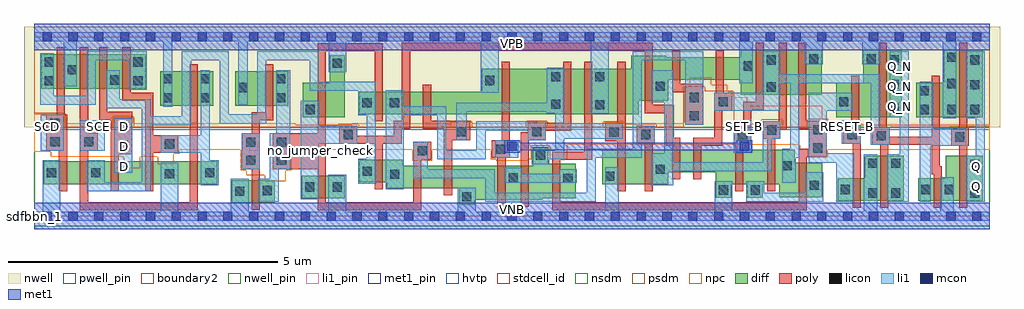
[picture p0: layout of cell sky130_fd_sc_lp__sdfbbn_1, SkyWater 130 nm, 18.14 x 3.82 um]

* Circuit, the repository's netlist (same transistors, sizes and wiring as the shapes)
* Copyright 2020 The SkyWater PDK Authors
*
* Licensed under the Apache License, Version 2.0 (the "License");
* you may not use this file except in compliance with the License.
* You may obtain a copy of the License at
*
*     https://www.apache.org/licenses/LICENSE-2.0
*
* Unless required by applicable law or agreed to in writing, software
* distributed under the License is distributed on an "AS IS" BASIS,
* WITHOUT WARRANTIES OR CONDITIONS OF ANY KIND, either express or implied.
* See the License for the specific language governing permissions and
* limitations under the License.
*
* SPDX-License-Identifier: Apache-2.0

.SUBCKT sky130_fd_sc_lp__sdfbbn_1 CLK_N D RESET_B SCD SCE SET_B VGND VNB VPB VPWR Q Q_N
*.PININFO CLK_N:I D:I RESET_B:I SCD:I SCE:I SET_B:I VGND:I VNB:I VPB:I
*.PININFO VPWR:I Q:O Q_N:O
MI98 net93 D n0 VNB sky130_fd_pr__nfet_01v8 m=1 w=0.42U l=0.15U mult=1 sa=0.265
+ sb=0.265 sd=0.28 area=0.525 perim=3.1
MI103 n1 SCD VGND VNB sky130_fd_pr__nfet_01v8 m=1 w=0.42U l=0.15U mult=1 sa=0.265
+ sb=0.265 sd=0.28 area=0.525 perim=3.1
MI104 n0 sceb VGND VNB sky130_fd_pr__nfet_01v8 m=1 w=0.42U l=0.15U mult=1 sa=0.265
+ sb=0.265 sd=0.28 area=0.525 perim=3.1
MI120 net93 SCE n1 VNB sky130_fd_pr__nfet_01v8 m=1 w=0.42U l=0.15U mult=1 sa=0.265
+ sb=0.265 sd=0.28 area=0.525 perim=3.1
MI46 clkneg clkpos VGND VNB sky130_fd_pr__nfet_01v8 m=1 w=0.42U l=0.15U mult=1
+ sa=0.265 sb=0.265 sd=0.28 area=0.063 perim=1.14
MI642 RESET RESET_B VGND VNB sky130_fd_pr__nfet_01v8 m=1 w=0.42U l=0.15U mult=1
+ sa=0.265 sb=0.265 sd=0.28 area=0.063 perim=1.14
MI676 M1 M0 net116 VNB sky130_fd_pr__nfet_01v8 m=1 w=0.64U l=0.15U mult=1 sa=0.265
+ sb=0.265 sd=0.28 area=0.063 perim=1.14
MI675 net116 SET_B VGND VNB sky130_fd_pr__nfet_01v8 m=1 w=0.64U l=0.15U mult=1
+ sa=0.265 sb=0.265 sd=0.28 area=0.063 perim=1.14
MI653 Q net273 VGND VNB sky130_fd_pr__nfet_01v8 m=1 w=0.84U l=0.15U mult=1 sa=0.265
+ sb=0.265 sd=0.28 area=0.063 perim=1.14
MI677 M1 RESET net116 VNB sky130_fd_pr__nfet_01v8 m=1 w=0.64U l=0.15U mult=1 sa=0.265
+ sb=0.265 sd=0.28 area=0.063 perim=1.14
MI648 M0 clkpos net132 VNB sky130_fd_pr__nfet_01v8 m=1 w=0.42U l=0.15U mult=1 sa=0.265
+ sb=0.265 sd=0.28 area=0.063 perim=1.14
MI44 clkpos CLK_N VGND VNB sky130_fd_pr__nfet_01v8 m=1 w=0.42U l=0.15U mult=1 sa=0.265
+ sb=0.265 sd=0.28 area=0.063 perim=1.14
MI649 net132 M1 VGND VNB sky130_fd_pr__nfet_01v8 m=1 w=0.42U l=0.15U mult=1 sa=0.265
+ sb=0.265 sd=0.28 area=0.063 perim=1.14
MI655 S0 clkneg net149 VNB sky130_fd_pr__nfet_01v8 m=1 w=0.42U l=0.15U mult=1 sa=0.265
+ sb=0.265 sd=0.28 area=0.063 perim=1.14
MI654 net149 net177 VGND VNB sky130_fd_pr__nfet_01v8 m=1 w=0.42U l=0.15U mult=1
+ sa=0.265 sb=0.265 sd=0.28 area=0.063 perim=1.14
MI651 Q_N net177 VGND VNB sky130_fd_pr__nfet_01v8 m=1 w=0.84U l=0.15U mult=1 sa=0.265
+ sb=0.265 sd=0.28 area=0.063 perim=1.14
MI652 net273 net177 VGND VNB sky130_fd_pr__nfet_01v8 m=1 w=0.42U l=0.15U mult=1
+ sa=0.265 sb=0.265 sd=0.28 area=0.063 perim=1.14
MI42 net93 clkneg M0 VNB sky130_fd_pr__nfet_01v8 m=1 w=0.42U l=0.15U mult=1 sa=0.265
+ sb=0.265 sd=0.28 area=0.063 perim=1.14
MI668 S0 clkpos net164 VNB sky130_fd_pr__nfet_01v8 m=1 w=0.64U l=0.15U mult=1 sa=0.265
+ sb=0.265 sd=0.28 area=0.063 perim=1.14
MI667 net164 M1 VGND VNB sky130_fd_pr__nfet_01v8 m=1 w=0.64U l=0.15U mult=1 sa=0.265
+ sb=0.265 sd=0.28 area=0.063 perim=1.14
MI630 net177 RESET net176 VNB sky130_fd_pr__nfet_01v8 m=1 w=0.64U l=0.15U mult=1
+ sa=0.265 sb=0.265 sd=0.28 area=0.063 perim=1.14
MI3 net177 S0 net176 VNB sky130_fd_pr__nfet_01v8 m=1 w=0.64U l=0.15U mult=1 sa=0.265
+ sb=0.265 sd=0.28 area=0.063 perim=1.14
MI7 net176 SET_B VGND VNB sky130_fd_pr__nfet_01v8 m=1 w=0.64U l=0.15U mult=1 sa=0.265
+ sb=0.265 sd=0.28 area=0.063 perim=1.14
MI639 sceb SCE VGND VNB sky130_fd_pr__nfet_01v8 m=1 w=0.42U l=0.15U mult=1 sa=0.265
+ sb=0.265 sd=0.28 area=0.063 perim=1.14
MI107 p0 SCE VPWR VPB sky130_fd_pr__pfet_01v8_hvt m=1 w=0.64U l=0.15U mult=1 sa=0.265
+ sb=0.265 sd=0.28 area=0.063 perim=1.14
MI94 net93 D p0 VPB sky130_fd_pr__pfet_01v8_hvt m=1 w=0.64U l=0.15U mult=1 sa=0.265
+ sb=0.265 sd=0.28 area=0.063 perim=1.14
MI101 net93 sceb p1 VPB sky130_fd_pr__pfet_01v8_hvt m=1 w=0.64U l=0.15U mult=1
+ sa=0.265 sb=0.265 sd=0.28 area=0.063 perim=1.14
MI108 p1 SCD VPWR VPB sky130_fd_pr__pfet_01v8_hvt m=1 w=0.64U l=0.15U mult=1 sa=0.265
+ sb=0.265 sd=0.28 area=0.063 perim=1.14
MI679 M1 SET_B VPWR VPB sky130_fd_pr__pfet_01v8_hvt m=1 w=0.84U l=0.15U mult=1
+ sa=0.265 sb=0.265 sd=0.28 area=0.063 perim=1.14
MI669 S0 clkneg net221 VPB sky130_fd_pr__pfet_01v8_hvt m=1 w=0.84U l=0.15U mult=1
+ sa=0.265 sb=0.265 sd=0.28 area=0.063 perim=1.14
MI660 Q net273 VPWR VPB sky130_fd_pr__pfet_01v8_hvt m=1 w=1.26U l=0.15U mult=1
+ sa=0.265 sb=0.265 sd=0.28 area=0.063 perim=1.14
MI9 net177 S0 net216 VPB sky130_fd_pr__pfet_01v8_hvt m=1 w=0.84U l=0.15U mult=1
+ sa=0.265 sb=0.265 sd=0.28 area=0.063 perim=1.14
MI670 net221 M1 VPWR VPB sky130_fd_pr__pfet_01v8_hvt m=1 w=0.84U l=0.15U mult=1
+ sa=0.265 sb=0.265 sd=0.28 area=0.063 perim=1.14
MI678 net268 RESET VPWR VPB sky130_fd_pr__pfet_01v8_hvt m=1 w=0.84U l=0.15U mult=1
+ sa=0.265 sb=0.265 sd=0.28 area=0.063 perim=1.14
MI662 net229 net177 VPWR VPB sky130_fd_pr__pfet_01v8_hvt m=1 w=0.42U l=0.15U mult=1
+ sa=0.265 sb=0.265 sd=0.28 area=0.063 perim=1.14
MI664 S0 clkpos net229 VPB sky130_fd_pr__pfet_01v8_hvt m=1 w=0.42U l=0.15U mult=1
+ sa=0.265 sb=0.265 sd=0.28 area=0.063 perim=1.14
MI10 net177 SET_B VPWR VPB sky130_fd_pr__pfet_01v8_hvt m=1 w=0.84U l=0.15U mult=1
+ sa=0.265 sb=0.265 sd=0.28 area=0.063 perim=1.14
MI11 net216 RESET VPWR VPB sky130_fd_pr__pfet_01v8_hvt m=1 w=0.84U l=0.15U mult=1
+ sa=0.265 sb=0.265 sd=0.28 area=0.063 perim=1.14
MI650 net245 M1 VPWR VPB sky130_fd_pr__pfet_01v8_hvt m=1 w=0.42U l=0.15U mult=1
+ sa=0.265 sb=0.265 sd=0.28 area=0.063 perim=1.14
MI43 net93 clkpos M0 VPB sky130_fd_pr__pfet_01v8_hvt m=1 w=0.42U l=0.15U mult=1
+ sa=0.265 sb=0.265 sd=0.28 area=0.063 perim=1.14
MI656 M0 clkneg net245 VPB sky130_fd_pr__pfet_01v8_hvt m=1 w=0.42U l=0.15U mult=1
+ sa=0.265 sb=0.265 sd=0.28 area=0.063 perim=1.14
MI643 RESET RESET_B VPWR VPB sky130_fd_pr__pfet_01v8_hvt m=1 w=0.64U l=0.15U mult=1
+ sa=0.265 sb=0.265 sd=0.28 area=0.063 perim=1.14
MI47 clkneg clkpos VPWR VPB sky130_fd_pr__pfet_01v8_hvt m=1 w=0.64U l=0.15U mult=1
+ sa=0.265 sb=0.265 sd=0.28 area=0.063 perim=1.14
MI45 clkpos CLK_N VPWR VPB sky130_fd_pr__pfet_01v8_hvt m=1 w=0.64U l=0.15U mult=1
+ sa=0.265 sb=0.265 sd=0.28 area=0.063 perim=1.14
MI680 M1 M0 net268 VPB sky130_fd_pr__pfet_01v8_hvt m=1 w=0.84U l=0.15U mult=1 sa=0.265
+ sb=0.265 sd=0.28 area=0.063 perim=1.14
MI663 net273 net177 VPWR VPB sky130_fd_pr__pfet_01v8_hvt m=1 w=0.64U l=0.15U mult=1
+ sa=0.265 sb=0.265 sd=0.28 area=0.063 perim=1.14
MI661 Q_N net177 VPWR VPB sky130_fd_pr__pfet_01v8_hvt m=1 w=1.26U l=0.15U mult=1
+ sa=0.265 sb=0.265 sd=0.28 area=0.063 perim=1.14
MI640 sceb SCE VPWR VPB sky130_fd_pr__pfet_01v8_hvt m=1 w=0.64U l=0.15U mult=1
+ sa=0.265 sb=0.265 sd=0.28 area=0.063 perim=1.14
.ENDS sky130_fd_sc_lp__sdfbbn_1

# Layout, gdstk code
import gdstk
lib = gdstk.Library(unit=1e-6, precision=1e-09)
def R(c, l, rs):  # rectangles x0, y0, x1, y1
    for r in rs: c.add(gdstk.rectangle(r[:2], r[2:], *l))
def A(c, l, x, y, w, h, nx, ny, dx, dy):  # array of equal rectangles
    R(c, l, [(x+i*dx, y+j*dy, x+i*dx+w, y+j*dy+h) for i in range(nx) for j in range(ny)])
def P(c, l, *ps):  # polygons
    for p in ps: c.add(gdstk.Polygon(p, *l))
nwell_pin = (64, 16)
nwell = (64, 20)
diff = (65, 20)
poly = (66, 20)
licon = (66, 44)
li1_pin = (67, 16)
li1 = (67, 20)
mcon = (67, 44)
met1_pin = (68, 16)
met1 = (68, 20)
hvtp = (78, 44)
stdcell_id = (81, 4)
nsdm = (93, 44)
psdm = (94, 20)
npc = (95, 20)
pwell_pin = (122, 16)
boundary2 = (236, 0)

sky130_fd_sc_lp__sdfbbn_ = lib.new_cell('sky130_fd_sc_lp__sdfbbn_1')
R(sky130_fd_sc_lp__sdfbbn_, nwell_pin, [(0,3.085,17.76,3.33)])
R(sky130_fd_sc_lp__sdfbbn_, nwell, [(-0.19,1.655,17.95,3.52)])
R(sky130_fd_sc_lp__sdfbbn_, diff, [(3.675,0.25,4.475,0.67), (4.975,0.33,5.775,0.75), (0.175,0.595,3.405,1.015), (2.34,2.055,3.325,2.695), (3.735,2.055,4.72,2.695), (0.135,2.37,2.07,3.01)])
P(sky130_fd_sc_lp__sdfbbn_, diff, [(5.775,2.985),(5.495,2.985),(5.495,2.475),(4.99,2.475),(4.99,1.835),(5.775,1.835)],
  [(10.065,0.97),(9.555,0.97),(9.555,1.275),(9.27,1.275),(9.27,0.94),(6.845,0.94),(6.845,1.045),(6.045,1.045),(6.045,0.625),(6.555,0.625),(6.555,0.52),(7.895,0.52),(7.895,0.215),(8.185,0.215),(8.185,0.3),(9.445,0.3),(9.445,0.33),(10.065,0.33)],
  [(14.635,3.095),(13.13,3.095),(13.13,2.95),(11.745,2.95),(11.745,2.98),(11.095,2.98),(11.095,2.735),(8.32,2.735),(8.32,2.315),(6.045,2.315),(6.045,1.895),(11.24,1.895),(11.24,2.14),(11.78,2.14),(11.78,2.53),(13.13,2.53),(13.13,2.255),(14.635,2.255)],
  [(14.645,0.99),(14.135,0.99),(14.135,1.235),(10.555,1.235),(10.555,0.595),(11.78,0.595),(11.78,0.815),(12.665,0.815),(12.665,0.34),(12.955,0.34),(12.955,0.595),(13.255,0.595),(13.255,0.34),(13.545,0.34),(13.545,0.595),(13.845,0.595),(13.845,0.35),(14.645,0.35)],
  [(16.125,3.095),(15.41,3.095),(15.41,2.475),(14.905,2.475),(14.905,1.835),(16.125,1.835)],
  [(16.16,1.125),(15.44,1.125),(15.44,0.705),(14.93,0.705),(14.93,0.285),(16.16,0.285)],
  [(17.625,3.095),(16.905,3.095),(16.905,2.475),(16.395,2.475),(16.395,1.835),(17.625,1.835)],
  [(17.625,1.125),(16.94,1.125),(16.94,0.705),(16.43,0.705),(16.43,0.285),(17.625,0.285)])
P(sky130_fd_sc_lp__sdfbbn_, poly, [(0.61,1.885),(0.57,1.885),(0.57,3.14),(0.42,3.14),(0.42,1.885),(0.22,1.885),(0.22,1.215),(0.46,1.215),(0.46,0.465),(0.61,0.465)],
  [(1.82,1.935),(1.36,1.935),(1.36,3.14),(1.21,3.14),(1.21,1.785),(1.42,1.785),(1.42,0.465),(1.57,0.465),(1.57,1.15),(1.82,1.15)],
  [(2.68,1.505),(2.21,1.505),(2.21,2.295),(1.79,2.295),(1.79,3.14),(1.64,3.14),(1.64,2.145),(2.06,2.145),(2.06,0.465),(2.21,0.465),(2.21,1.175),(2.68,1.175)],
  [(3.04,2.825),(2.89,2.825),(2.89,0.255),(1,0.255),(1,1.215),(1.18,1.215),(1.18,1.545),(1,1.545),(1,3.14),(0.85,3.14),(0.85,0.105),(3.04,0.105)],
  [(4.44,2.825),(4.29,2.825),(4.29,1.93),(4.04,1.93),(4.04,1.54),(3.86,1.54),(3.86,0.87),(4.04,0.87),(4.04,0.12),(4.19,0.12),(4.19,1.78),(4.44,1.78)],
  [(7.375,1.38),(7.045,1.38),(7.045,0.255),(5.42,0.255),(5.42,3.06),(6.325,3.06),(6.325,1.765),(6.475,1.765),(6.475,3.21),(5.27,3.21),(5.27,1.54),(4.43,1.54),(4.43,0.87),(5.27,0.87),(5.27,0.105),(7.195,0.105),(7.195,1.05),(7.375,1.05)],
  [(8.105,1.77),(7.375,1.77),(7.375,2.445),(7.225,2.445),(7.225,1.62),(7.615,1.62),(7.615,0.39),(7.765,0.39),(7.765,1.405),(8.105,1.405)],
  [(8.835,2.865),(8.685,2.865),(8.685,1.41),(8.505,1.41),(8.505,1.08),(8.61,1.08),(8.61,0.17),(8.76,0.17),(8.76,1.08),(8.835,1.08)],
  [(9.98,2.865),(9.83,2.865),(9.83,1.735),(9.175,1.735),(9.175,1.555),(9.045,1.555),(9.045,0.17),(9.195,0.17),(9.195,1.405),(9.505,1.405),(9.505,1.585),(9.98,1.585)],
  [(10.99,2.865),(10.84,2.865),(10.84,1.725),(10.61,1.725),(10.61,1.395),(10.84,1.395),(10.84,0.465),(10.99,0.465)],
  [(11.53,1.675),(11.2,1.675),(11.2,1.345),(11.345,1.345),(11.345,0.465),(11.495,0.465),(11.495,1.345),(11.53,1.345)],
  [(12.005,1.46),(11.89,1.46),(11.89,2.065),(11.495,2.065),(11.495,3.225),(6.835,3.225),(6.835,1.77),(6.685,1.77),(6.685,1.495),(6,1.495),(6,1.675),(5.67,1.675),(5.67,1.345),(6.33,1.345),(6.33,0.495),(6.48,0.495),(6.48,1.345),(6.835,1.345),(6.835,1.62),(6.985,1.62),(6.985,3.075),(11.345,3.075),(11.345,1.915),(11.74,1.915),(11.74,1.31),(11.855,1.31),(11.855,0.685),(12.005,0.685)],
  [(12.43,2.455),(12.005,2.455),(12.005,3.08),(11.855,3.08),(11.855,2.305),(12.1,2.305),(12.1,1.7),(12.43,1.7)],
  [(12.97,2.29),(12.82,2.29),(12.82,3.08),(12.67,3.08),(12.67,2.29),(12.64,2.29),(12.64,1.46),(12.245,1.46),(12.245,0.685),(12.395,0.685),(12.395,1.31),(12.79,1.31),(12.79,1.96),(12.97,1.96)],
  [(13.56,3.225),(13.41,3.225),(13.41,2.125),(13.18,2.125),(13.18,1.675),(13,1.675),(13,1.345),(13.03,1.345),(13.03,0.465),(13.18,0.465),(13.18,1.345),(13.33,1.345),(13.33,1.975),(13.56,1.975)],
  [(13.99,3.225),(13.84,3.225),(13.84,1.765),(13.54,1.765),(13.54,1.435),(13.62,1.435),(13.62,0.465),(13.77,0.465),(13.77,1.435),(13.87,1.435),(13.87,1.615),(13.99,1.615)],
  [(14.73,1.77),(14.35,1.77),(14.35,3.225),(14.2,3.225),(14.2,1.62),(14.4,1.62),(14.4,1.25),(14.21,1.25),(14.21,0.255),(9.78,0.255),(9.78,1.045),(10.37,1.045),(10.37,2.865),(10.22,2.865),(10.22,1.195),(9.63,1.195),(9.63,0.105),(14.36,0.105),(14.36,1.1),(14.73,1.1)],
  [(15.365,1.675),(15.335,1.675),(15.335,2.605),(15.185,2.605),(15.185,1.675),(15.035,1.675),(15.035,1.345),(15.215,1.345),(15.215,0.155),(15.365,0.155)],
  [(16.865,0.93),(16.83,0.93),(16.83,2.605),(16.68,2.605),(16.68,1.475),(15.905,1.475),(15.905,1.655),(15.845,1.655),(15.845,3.225),(15.695,3.225),(15.695,1.655),(15.575,1.655),(15.575,1.325),(15.725,1.325),(15.725,0.155),(15.875,0.155),(15.875,1.325),(16.68,1.325),(16.68,0.78),(16.715,0.78),(16.715,0.155),(16.865,0.155)],
  [(17.37,1.635),(17.34,1.635),(17.34,3.225),(17.19,3.225),(17.19,1.635),(17.04,1.635),(17.04,1.305),(17.19,1.305),(17.19,0.155),(17.34,0.155),(17.34,1.305),(17.37,1.305)])
A(sky130_fd_sc_lp__sdfbbn_, licon, 16.965, 1.895, 0.17, 0.17, 1, 3, 0, 0.485)
A(sky130_fd_sc_lp__sdfbbn_, licon, 17.395, 1.895, 0.17, 0.17, 1, 3, 0, 0.46)
A(sky130_fd_sc_lp__sdfbbn_, licon, 15.9, 1.915, 0.17, 0.17, 1, 3, 0, 0.45)
R(sky130_fd_sc_lp__sdfbbn_, licon, [(7.955,0.275,8.125,0.445), (15.5,0.345,15.67,0.515), (15.93,0.345,16.1,0.515), (17.395,0.345,17.565,0.515), (3.735,0.375,3.905,0.545), (4.245,0.39,4.415,0.56), (12.725,0.4,12.895,0.57), (13.315,0.4,13.485,0.57), (14.99,0.41,15.16,0.58), (16.49,0.41,16.66,0.58), (16.92,0.41,17.09,0.58), (5.035,0.455,5.205,0.625), (5.545,0.455,5.715,0.625), (14.415,0.485,14.585,0.655), (9.835,0.62,10.005,0.79), (8.815,0.63,8.985,0.8), (10.615,0.655,10.785,0.825), (6.615,0.695,6.785,0.865), (2.43,0.7,2.6,0.87), (0.235,0.72,0.405,0.89), (1.06,0.72,1.23,0.89), (3.175,0.72,3.345,0.89), (6.105,0.75,6.275,0.92), (11.55,0.785,11.72,0.955), (13.905,0.85,14.075,1.02), (17.395,0.875,17.565,1.045), (15.5,0.895,15.67,1.065), (15.93,0.895,16.1,1.065), (3.94,0.95,4.11,1.12), (4.51,0.95,4.68,1.12), (9.325,1.045,9.495,1.215), (7.125,1.13,7.295,1.3), (8.585,1.16,8.755,1.33), (14.48,1.18,14.65,1.35), (1.57,1.23,1.74,1.4), (2.43,1.255,2.6,1.425), (3.94,1.29,4.11,1.46), (4.51,1.29,4.68,1.46), (0.3,1.295,0.47,1.465), (0.93,1.295,1.1,1.465), (17.12,1.385,17.29,1.555), (15.655,1.405,15.825,1.575), (5.75,1.425,5.92,1.595), (11.28,1.425,11.45,1.595), (13.08,1.425,13.25,1.595), (15.115,1.425,15.285,1.595), (10.69,1.475,10.86,1.645), (7.855,1.485,8.025,1.655), (9.255,1.485,9.425,1.655), (13.62,1.515,13.79,1.685), (14.48,1.52,14.65,1.69), (1.57,1.57,1.74,1.74), (0.3,1.635,0.47,1.805), (12.18,1.78,12.35,1.95), (5.045,1.895,5.215,2.065), (16.455,1.895,16.625,2.065), (10.425,1.985,10.595,2.155), (9.605,1.995,9.775,2.165), (6.1,2.02,6.27,2.19), (6.61,2.02,6.78,2.19), (12.72,2.04,12.89,2.21), (14.96,2.04,15.13,2.21), (2.395,2.115,2.565,2.285), (3.095,2.115,3.265,2.285), (4.495,2.115,4.665,2.285), (12.18,2.12,12.35,2.29), (16.455,2.245,16.625,2.415), (3.795,2.305,3.965,2.475), (13.615,2.315,13.785,2.485), (11.55,2.33,11.72,2.5), (0.195,2.43,0.365,2.6), (1.845,2.43,2.015,2.6), (8.38,2.435,8.55,2.605), (1.415,2.445,1.585,2.615), (2.395,2.465,2.565,2.635), (3.095,2.465,3.265,2.635), (4.495,2.465,4.665,2.635), (9.605,2.505,9.775,2.675), (10.425,2.505,10.595,2.675), (0.625,2.635,0.795,2.805), (13.185,2.705,13.355,2.875), (5.55,2.755,5.72,2.925), (0.195,2.78,0.365,2.95), (1.845,2.78,2.015,2.95), (13.615,2.815,13.785,2.985), (14.405,2.84,14.575,3.01), (15.47,2.84,15.64,3.01)])
A(sky130_fd_sc_lp__sdfbbn_, li1_pin, 1.595, 0.84, 0.17, 0.17, 1, 3, 0, 0.37)
A(sky130_fd_sc_lp__sdfbbn_, li1_pin, 15.995, 1.95, 0.17, 0.17, 1, 3, 0, 0.37)
R(sky130_fd_sc_lp__sdfbbn_, li1_pin, [(17.435,0.47,17.605,0.64), (17.435,0.84,17.605,1.01), (3.995,1.21,4.165,1.38), (0.155,1.58,0.325,1.75), (1.115,1.58,1.285,1.75), (13.115,1.58,13.285,1.75), (15.035,1.58,15.205,1.75)])
R(sky130_fd_sc_lp__sdfbbn_, li1, [(1.49,0.81,1.82,1.82), (3.86,0.87,4.195,1.54), (8.57,1.08,8.995,1.41), (13,1.18,13.33,1.78), (0.125,1.215,0.55,1.885), (0.85,1.215,1.31,1.78), (15.005,1.345,15.365,1.78)])
P(sky130_fd_sc_lp__sdfbbn_, li1, [(17.315,0.265),(17.315,1.125),(17.5,1.125),(17.5,1.815),(17.315,1.815),(17.315,3.065),(17.67,3.065),(17.67,0.265)],
  [(15.9,1.835),(15.9,3.065),(16.255,3.065),(16.255,0.265),(15.85,0.265),(15.85,1.145),(16.085,1.145),(16.085,1.835)],
  [(0.545,2.415),(0.545,3.245),(0,3.245),(0,3.415),(17.76,3.415),(17.76,3.245),(17.135,3.245),(17.135,1.815),(16.885,1.815),(16.885,3.245),(15.72,3.245),(15.72,2.82),(15.39,2.82),(15.39,3.245),(14.655,3.245),(14.655,2.82),(14.325,2.82),(14.325,3.245),(13.355,3.245),(13.355,2.47),(13.105,2.47),(13.105,3.245),(10.675,3.245),(10.675,1.905),(10.345,1.905),(10.345,3.245),(8.63,3.245),(8.63,2.29),(8.3,2.29),(8.3,3.245),(5.8,3.245),(5.8,2.675),(5.47,2.675),(5.47,3.245),(3.965,3.245),(3.965,2.07),(3.795,2.07),(3.795,3.245),(2.565,3.245),(2.565,2.035),(2.395,2.035),(2.395,3.245),(0.795,3.245),(0.795,2.415)],
  [(2.35,0.085),(2.35,0.995),(2.68,0.995),(2.68,0.085),(3.655,0.085),(3.655,0.69),(3.985,0.69),(3.985,0.085),(5.465,0.085),(5.465,0.77),(5.795,0.77),(5.795,0.085),(7.875,0.085),(7.875,0.525),(8.205,0.525),(8.205,0.085),(10.615,0.085),(10.615,0.905),(10.865,0.905),(10.865,0.085),(12.645,0.085),(12.645,0.65),(12.975,0.65),(12.975,0.085),(15.42,0.085),(15.42,1.145),(15.67,1.145),(15.67,0.085),(16.84,0.085),(16.84,0.725),(17.09,0.725),(17.09,0.085),(17.76,0.085),(17.76,-0.085),(0,-0.085),(0,0.085),(0.155,0.085),(0.155,1.035),(0.485,1.035),(0.485,0.085)],
  [(13.865,2.64),(15.72,2.64),(15.72,1.655),(15.905,1.655),(15.905,1.325),(15.55,1.325),(15.55,2.47),(14.22,2.47),(14.22,1.085),(14.155,1.085),(14.155,0.615),(13.905,0.615),(13.905,1.255),(14.05,1.255),(14.05,2.47),(13.865,2.47),(13.865,1.96),(12.64,1.96),(12.64,2.29),(13.535,2.29),(13.535,3.065),(13.865,3.065)],
  [(9.855,1.055),(9.575,1.055),(9.575,0.965),(9.245,0.965),(9.245,1.225),(9.685,1.225),(9.685,1.915),(9.525,1.915),(9.525,1.94),(8.04,1.94),(8.04,1.405),(7.84,1.405),(7.84,2.11),(9.525,2.11),(9.525,2.755),(9.855,2.755),(9.855,1.725),(10.94,1.725),(10.94,1.435),(9.855,1.435)],
  [(16.455,2.495),(16.705,2.495),(16.705,1.635),(17.32,1.635),(17.32,1.305),(16.66,1.305),(16.66,0.265),(16.455,0.265)],
  [(3.095,1.505),(3.095,2.715),(3.265,2.715),(3.265,1.035),(3.425,1.035),(3.425,0.575),(3.095,0.575),(3.095,1.175),(2.35,1.175),(2.35,1.505)],
  [(1.335,2),(1.335,2.715),(1.585,2.715),(1.585,2.17),(2.17,2.17),(2.17,1.855),(2.745,1.855),(2.745,3.065),(3.615,3.065),(3.615,1.89),(4.145,1.89),(4.145,3.065),(5.29,3.065),(5.29,2.495),(6.35,2.495),(6.35,1.065),(6.355,1.065),(6.355,0.605),(6.025,0.605),(6.025,1.065),(6.18,1.065),(6.18,1.875),(6.02,1.875),(6.02,2.325),(5.12,2.325),(5.12,2.895),(4.315,2.895),(4.315,1.72),(3.445,1.72),(3.445,2.895),(2.915,2.895),(2.915,1.685),(2.17,1.685),(2.17,0.46),(0.98,0.46),(0.98,1.035),(1.31,1.035),(1.31,0.63),(2,0.63),(2,2)],
  [(0.115,2.065),(0.115,3.03),(0.365,3.03),(0.365,2.235),(0.975,2.235),(0.975,3.065),(2.095,3.065),(2.095,2.35),(1.765,2.35),(1.765,2.895),(1.145,2.895),(1.145,2.065)],
  [(10.265,1.255),(11.12,1.255),(11.12,3.065),(12.43,3.065),(12.43,1.7),(12.1,1.7),(12.1,2.895),(11.29,2.895),(11.29,1.675),(11.53,1.675),(11.53,1.345),(11.29,1.345),(11.29,1.085),(10.435,1.085),(10.435,0.265),(8.385,0.265),(8.385,0.705),(7.045,0.705),(7.045,1.38),(7.31,1.38),(7.31,0.875),(8.555,0.875),(8.555,0.435),(10.265,0.435)],
  [(4.375,1.54),(4.495,1.54),(4.495,2.715),(4.76,2.715),(4.76,0.87),(4.545,0.87),(4.545,0.265),(4.165,0.265),(4.165,0.69),(4.375,0.69)],
  [(6.865,2.045),(7.66,2.045),(7.66,1.225),(8.22,1.225),(8.22,1.76),(9.345,1.76),(9.345,1.735),(9.505,1.735),(9.505,1.405),(9.175,1.405),(9.175,1.59),(8.39,1.59),(8.39,1.055),(7.49,1.055),(7.49,1.875),(6.865,1.875),(6.865,0.5),(6.535,0.5),(6.535,1.875),(6.53,1.875),(6.53,2.335),(6.865,2.335)],
  [(11.88,1),(13.54,1),(13.54,1.765),(13.87,1.765),(13.87,1.435),(13.71,1.435),(13.71,0.83),(11.88,0.83),(11.88,0.575),(11.47,0.575),(11.47,1.165),(11.71,1.165),(11.71,2.12),(11.47,2.12),(11.47,2.715),(11.88,2.715)],
  [(4.955,0.31),(4.955,2.145),(5.295,2.145),(5.295,1.675),(6,1.675),(6,1.345),(5.285,1.345),(5.285,0.31)],
  [(9.755,0.785),(9.755,0.875),(10.085,0.875),(10.085,0.615),(8.735,0.615),(8.735,0.9),(9.065,0.9),(9.065,0.785)],
  [(14.335,0.435),(14.335,0.815),(14.665,0.815),(14.665,0.265),(13.235,0.265),(13.235,0.65),(13.565,0.65),(13.565,0.435)],
  [(14.4,0.995),(14.4,2.29),(15.21,2.29),(15.21,1.96),(14.73,1.96),(14.73,1.165),(15.24,1.165),(15.24,0.265),(14.91,0.265),(14.91,0.995)])
A(sky130_fd_sc_lp__sdfbbn_, mcon, 0.155, -0.085, 0.17, 0.17, 37, 2, 0.48, 3.33)
R(sky130_fd_sc_lp__sdfbbn_, mcon, [(8.795,1.21,8.965,1.38), (13.115,1.21,13.285,1.38)])
R(sky130_fd_sc_lp__sdfbbn_, met1_pin, [(0,0,17.76,0.245), (0,3.085,17.76,3.33)])
R(sky130_fd_sc_lp__sdfbbn_, met1, [(0,-0.245,17.76,0.245), (0,3.085,17.76,3.575)])
P(sky130_fd_sc_lp__sdfbbn_, met1, [(9.025,1.365),(13.055,1.365),(13.055,1.41),(13.345,1.41),(13.345,1.18),(13.055,1.18),(13.055,1.225),(9.025,1.225),(9.025,1.18),(8.735,1.18),(8.735,1.41),(9.025,1.41)])
R(sky130_fd_sc_lp__sdfbbn_, hvtp, [(0,1.6,17.76,3.33)])
R(sky130_fd_sc_lp__sdfbbn_, stdcell_id, [(0,0,17.76,3.33)])
R(sky130_fd_sc_lp__sdfbbn_, nsdm, [(0,-0.19,17.76,1.655)])
P(sky130_fd_sc_lp__sdfbbn_, psdm, [(17.76,3.52),(0,3.52),(0,1.915),(0.58,1.915),(0.58,1.655),(1.46,1.655),(1.46,1.85),(1.85,1.85),(1.85,1.655),(5.64,1.655),(5.64,1.705),(6.03,1.705),(6.03,1.655),(7.745,1.655),(7.745,1.765),(8.135,1.765),(8.135,1.655),(9.145,1.655),(9.145,1.765),(9.535,1.765),(9.535,1.655),(10.58,1.655),(10.58,1.755),(10.97,1.755),(10.97,1.705),(11.56,1.705),(11.56,1.655),(12.07,1.655),(12.07,2.4),(12.46,2.4),(12.46,2.32),(13,2.32),(13,1.705),(13.51,1.705),(13.51,1.795),(13.9,1.795),(13.9,1.655),(14.37,1.655),(14.37,1.8),(14.76,1.8),(14.76,1.705),(15.395,1.705),(15.395,1.685),(15.935,1.685),(15.935,1.655),(17.01,1.655),(17.01,1.665),(17.76,1.665)])
P(sky130_fd_sc_lp__sdfbbn_, npc, [(17.76,1.695),(14.765,1.695),(14.765,1.73),(14.75,1.73),(14.75,1.79),(14.645,1.79),(14.645,2.05),(13.255,2.05),(13.255,2.205),(12.99,2.205),(12.99,2.31),(12.885,2.31),(12.885,2.44),(12.58,2.44),(12.58,2.575),(12.185,2.575),(12.185,2.39),(12.08,2.39),(12.08,1.73),(10.96,1.73),(10.96,1.745),(10.59,1.745),(10.59,1.73),(9.525,1.73),(9.525,1.755),(9.155,1.755),(9.155,1.73),(8.125,1.73),(8.125,1.755),(7.755,1.755),(7.755,1.73),(5.915,1.73),(5.915,1.695),(4.85,1.695),(4.85,1.73),(1.84,1.73),(1.84,1.84),(1.47,1.84),(1.47,1.73),(0.57,1.73),(0.57,1.905),(0,1.905),(0,1.195),(0.305,1.195),(0.305,1.105),(1.66,1.105),(1.66,0.89),(1.97,0.89),(1.97,1.105),(2.3,1.105),(2.3,0.96),(2.595,0.96),(2.595,1.155),(2.7,1.155),(2.7,1.23),(3.84,1.23),(3.84,0.85),(3.945,0.85),(3.945,0.76),(4.28,0.76),(4.28,0.65),(4.675,0.65),(4.675,0.85),(4.78,0.85),(4.78,1.23),(7.025,1.23),(7.025,1.03),(7.395,1.03),(7.395,1.23),(8.485,1.23),(8.485,1.06),(8.59,1.06),(8.59,1.03),(9.18,1.03),(9.18,1.06),(9.235,1.06),(9.235,1.305),(9.585,1.305),(9.585,1.06),(9.91,1.06),(9.91,1.325),(14.225,1.325),(14.225,1.23),(14.38,1.23),(14.38,1.08),(14.75,1.08),(14.75,1.23),(17.76,1.23)])
R(sky130_fd_sc_lp__sdfbbn_, pwell_pin, [(0,0,17.76,0.245)])
R(sky130_fd_sc_lp__sdfbbn_, boundary2, [(0,0,17.76,3.33)])
sky130_fd_sc_lp__sdfbbn_.add(gdstk.Label('VNB', (8.88,0.123), layer=64, texttype=59))
sky130_fd_sc_lp__sdfbbn_.add(gdstk.Label('VPB', (8.88,3.208), layer=64, texttype=5))
sky130_fd_sc_lp__sdfbbn_.add(gdstk.Label('sdfbbn_1', (0,0), layer=83, texttype=44))
sky130_fd_sc_lp__sdfbbn_.add(gdstk.Label('no_jumper_check', (5.32,1.215), layer=83, texttype=44))
sky130_fd_sc_lp__sdfbbn_.add(gdstk.Label('VPWR', (8.88,3.208), layer=68, texttype=5))
sky130_fd_sc_lp__sdfbbn_.add(gdstk.Label('VGND', (8.88,0.123), layer=68, texttype=5))
sky130_fd_sc_lp__sdfbbn_.add(gdstk.Label('RESET_B', (15.12,1.665), layer=67, texttype=5))
sky130_fd_sc_lp__sdfbbn_.add(gdstk.Label('Q', (17.52,0.555), layer=67, texttype=5))
sky130_fd_sc_lp__sdfbbn_.add(gdstk.Label('Q', (17.52,0.925), layer=67, texttype=5))
sky130_fd_sc_lp__sdfbbn_.add(gdstk.Label('CLK_N', (4.08,1.295), layer=67, texttype=5))
sky130_fd_sc_lp__sdfbbn_.add(gdstk.Label('Q_N', (16.08,2.035), layer=67, texttype=5))
sky130_fd_sc_lp__sdfbbn_.add(gdstk.Label('Q_N', (16.08,2.405), layer=67, texttype=5))
sky130_fd_sc_lp__sdfbbn_.add(gdstk.Label('Q_N', (16.08,2.775), layer=67, texttype=5))
sky130_fd_sc_lp__sdfbbn_.add(gdstk.Label('SCE', (1.2,1.665), layer=67, texttype=5))
sky130_fd_sc_lp__sdfbbn_.add(gdstk.Label('SCD', (0.24,1.665), layer=67, texttype=5))
sky130_fd_sc_lp__sdfbbn_.add(gdstk.Label('D', (1.68,0.925), layer=67, texttype=5))
sky130_fd_sc_lp__sdfbbn_.add(gdstk.Label('D', (1.68,1.295), layer=67, texttype=5))
sky130_fd_sc_lp__sdfbbn_.add(gdstk.Label('D', (1.68,1.665), layer=67, texttype=5))
sky130_fd_sc_lp__sdfbbn_.add(gdstk.Label('SET_B', (13.2,1.665), layer=67, texttype=5))

lib.write_gds('sky130_fd_sc_lp__sdfbbn_1.gds')
